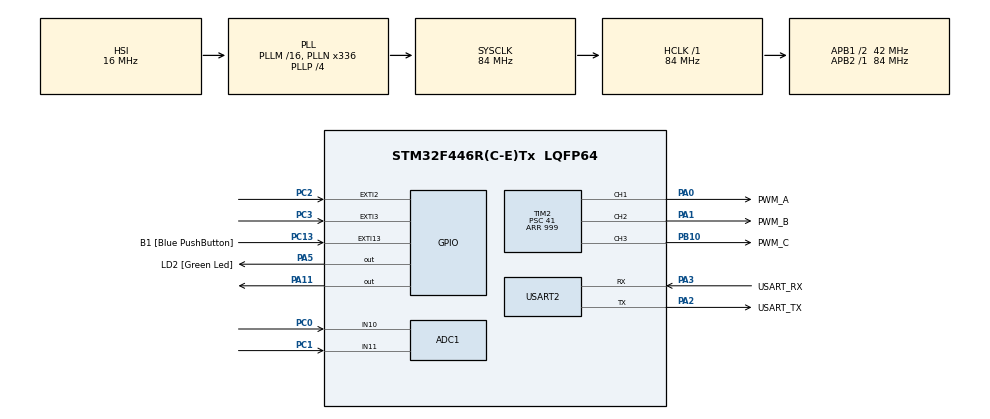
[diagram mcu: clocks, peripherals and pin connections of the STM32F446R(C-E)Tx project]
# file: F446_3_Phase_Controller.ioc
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Mcu.Family=STM32F4
PH0-OSC_IN.Signal=RCC_OSC_IN
RCC.CortexFreq_Value=84000000
PA14.GPIO_Label=TCK
TIM2.Channel-PWM\ Generation2\ CH2=TIM_CHANNEL_2
PC13.GPIO_Label=B1 [Blue PushButton]
RCC.SYSCLKSource=RCC_SYSCLKSOURCE_PLLCLK
ProjectManager.StackSize=0x400
NVIC.ADC_IRQn=true\:0\:0\:false\:false\:true\:true\:true
RCC.HCLKFreq_Value=84000000
RCC.APB2TimFreq_Value=84000000
TIM3.Period=41999
PC3.Signal=GPXTI3
RCC.AHBFreq_Value=84000000
PH0-OSC_IN.Mode=HSE-External-Oscillator
NVIC.EXTI15_10_IRQn=true\:0\:0\:false\:false\:true\:true\:true
ADC1.Channel-0\#ChannelRegularConversion=ADC_CHANNEL_10
RCC.HSE_VALUE=8000000
PC14-OSC32_IN.Mode=LSE-External-Oscillator
PA14.Mode=Serial_Wire
TIM3.Prescaler=39
TIM2.Channel-PWM\ Generation1\ CH1=TIM_CHANNEL_1
ADC1.SamplingTime-0\#ChannelRegularConversion=ADC_SAMPLETIME_3CYCLES
RCC.FLatency-AdvancedSettings=FLASH_LATENCY_2
PH1-OSC_OUT.Mode=HSE-External-Oscillator
Mcu.Package=LQFP64
TIM2.Prescaler=41
USART2.VirtualMode=VM_ASYNC
PA2.GPIO_Label=USART_TX
RCC.APB1TimFreq_Value=84000000
VP_TIM3_VS_ClockSourceINT.Mode=Internal
PA3.Signal=USART2_RX
PB3.GPIO_Label=SWO
PC15-OSC32_OUT.Mode=LSE-External-Oscillator
ADC1.Rank-0\#ChannelRegularConversion=1
PC13.Signal=GPXTI13
PC2.Signal=GPXTI2
PC0.Signal=ADCx_IN10
RCC.APB1CLKDivider=RCC_HCLK_DIV2
PC14-OSC32_IN.Signal=RCC_OSC32_IN
PA0-WKUP.GPIO_Label=PWM_A
PA0-WKUP.Signal=S_TIM2_CH1_ETR
PA3.Mode=Asynchronous
PA13.Signal=SYS_JTMS-SWDIO
SH.S_TIM2_CH2.0=TIM2_CH2,PWM Generation2 CH2
ProjectManager.TargetToolchain=MDK-ARM V5.27
PB10.GPIO_Label=PWM_C
RCC.USBFreq_Value=168000000
PC15-OSC32_OUT.Signal=RCC_OSC32_OUT
PA1.Signal=S_TIM2_CH2
PB10.Signal=S_TIM2_CH3
PA5.Signal=GPIO_Output
board=NUCLEO-F446RE
RCC.VCOOutputFreq_Value=336000000
NVIC.TIM3_IRQn=true\:0\:0\:false\:false\:true\:true\:true
RCC.APB2Freq_Value=84000000
SH.ADCx_IN11.0=ADC1_IN11,IN11
VP_TIM2_VS_ClockSourceINT.Mode=Internal
SH.S_TIM2_CH3.0=TIM2_CH3,PWM Generation3 CH3
PA1.GPIO_Label=PWM_B
TIM2.Channel-PWM\ Generation3\ CH3=TIM_CHANNEL_3
PH1-OSC_OUT.Signal=RCC_OSC_OUT
TIM2.Period=999
PA13.Mode=Serial_Wire
Mcu.Name=STM32F446R(C-E)Tx
PA2.Signal=USART2_TX
PA13.GPIO_Label=TMS
RCC.48MHZClocksFreq_Value=84000000
PB3.Signal=SYS_JTDO-SWO
RCC.SYSCLKFreq_VALUE=84000000
ADC1.master=1
PA5.GPIO_Label=LD2 [Green Led]
PC13.GPIO_ModeDefaultEXTI=GPIO_MODE_IT_FALLING
PA11.Signal=GPIO_Output
SH.S_TIM2_CH1_ETR.0=TIM2_CH1,PWM Generation1 CH1
PA14.Signal=SYS_JTCK-SWCLK
SH.ADCx_IN10.0=ADC1_IN10,IN10
ProjectManager.HeapSize=0x200
RCC.HSI_VALUE=16000000
RCC.PLLP=RCC_PLLP_DIV4
NVIC.PriorityGroup=NVIC_PRIORITYGROUP_0
ADC1.NbrOfConversionFlag=1
RCC.PLLN=336
PA2.Mode=Asynchronous
PA11.PinState=GPIO_PIN_SET
RCC.APB1Freq_Value=42000000
PC1.Signal=ADCx_IN11
PA3.GPIO_Label=USART_RX

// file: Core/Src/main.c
/* USER CODE BEGIN Header */
/**
  ******************************************************************************
  * @file           : main.c
  * @brief          : Main program body
  ******************************************************************************
  * @attention
  *
  * <h2><center>&copy; Copyright (c) 2021 STMicroelectronics.
  * All rights reserved.</center></h2>
  *
  * This software component is licensed by ST under BSD 3-Clause license,
  * the "License"; You may not use this file except in compliance with the
  * License. You may obtain a copy of the License at:
  *                        opensource.org/licenses/BSD-3-Clause
  *
  ******************************************************************************
  */
/* USER CODE END Header */
#include "main.h"

ADC_HandleTypeDef hadc1;

TIM_HandleTypeDef htim2;
TIM_HandleTypeDef htim3;

UART_HandleTypeDef huart2;

void SystemClock_Config(void);
static void MX_GPIO_Init(void);
static void MX_USART2_UART_Init(void);
static void MX_ADC1_Init(void);
static void MX_TIM2_Init(void);
static void MX_TIM3_Init(void);

int main(void)
{

  /* MCU Configuration--------------------------------------------------------*/

  /* Reset of all peripherals, Initializes the Flash interface and the Systick. */
  HAL_Init();

  /* Configure the system clock */
  SystemClock_Config();

  /* Initialize all configured peripherals */
  MX_GPIO_Init();
  MX_USART2_UART_Init();
  MX_ADC1_Init();
  MX_TIM2_Init();
  MX_TIM3_Init();
  /* USER CODE BEGIN 2 */

	HAL_TIM_PWM_Start(&htim2, TIM_CHANNEL_1); // starts PWM on channel 1 of timer_2
	HAL_TIM_PWM_Start(&htim2, TIM_CHANNEL_2); // starts PWM on channel 2 of timer_2
	HAL_TIM_PWM_Start(&htim2, TIM_CHANNEL_3); // starts PWM on channel 3 of timer_2

	uint8_t analogue = 0; // stores ADC read values

	uint64_t A_Pos; // Position of phase A
	uint64_t B_Pos;
	uint64_t C_Pos;

	uint16_t A_PWM; // PWM output for phase A
	uint16_t B_PWM;
	uint16_t C_PWM;

//	HAL_GPIO_WritePin(GPIOA, GPIO_PIN_11, GPIO_PIN_RESET);

  /* USER CODE END 2 */

  /* Infinite loop */
  while (1) {

    /* USER CODE BEGIN 3 */

		// Starting the 3 phases 120 deg apart
		A_Pos = inc;
		B_Pos = inc + 667;
		C_Pos = inc + 1334;

		A_PWM = A_Pos % 1000;
		B_PWM = B_Pos % 1000;
		C_PWM = C_Pos % 1000;

		// Updating phase A PWM from position
		if((A_Pos / 1000) % 2 == 0) {
			htim2.Instance->CCR1=(A_PWM);
		} else {
			htim2.Instance->CCR1=(999 - A_PWM);
		}

		// Updating phase B PWM from position
		if((B_Pos / 1000) % 2 == 0) {
			htim2.Instance->CCR2=(B_PWM);
		} else {
			htim2.Instance->CCR2=(999 - B_PWM);
		}

		// Updating phase C PWM from position
		if((C_Pos / 1000) % 2 == 0) {
			htim2.Instance->CCR3=(C_PWM);
		} else {
			htim2.Instance->CCR3=(999 - C_PWM);
		}

		HAL_Delay(10);

//		inc++;

//		HAL_GPIO_WritePin(LD2_GPIO_Port, LD2_Pin, GPIO_PIN_SET);
//		HAL_Delay(1000);
//		HAL_GPIO_WritePin(LD2_GPIO_Port, LD2_Pin, GPIO_PIN_RESET);
//		HAL_Delay(1000);

//		htim2.Instance->CCR1=(287/2);
//		HAL_GPIO_TogglePin(GPIOB, GPIO_PIN_13);
//		HAL_GPIO_TogglePin(GPIOA, GPIO_PIN_1);
//		HAL_Delay(1500);
//		HAL_GPIO_TogglePin(GPIOB, GPIO_PIN_13);
//		HAL_GPIO_TogglePin(GPIOA, GPIO_PIN_1);
//		HAL_Delay(1500);

//		HAL_GPIO_TogglePin(GPIOA, GPIO_PIN_5);
//		HAL_GPIO_TogglePin(

//		HAL_GPIO_TogglePin(GPIOA,GPIO_PIN_5);
//		HAL_Delay(1000);
//		HAL_GPIO_TogglePin(GPIOA,GPIO_PIN_5);
//		HAL_Delay(1000);
  }
  /* USER CODE END 3 */
}

void SystemClock_Config(void)
{
  RCC_OscInitTypeDef RCC_OscInitStruct = {0};
  RCC_ClkInitTypeDef RCC_ClkInitStruct = {0};

  /** Configure the main internal regulator output voltage
  */
  __HAL_RCC_PWR_CLK_ENABLE();
  __HAL_PWR_VOLTAGESCALING_CONFIG(PWR_REGULATOR_VOLTAGE_SCALE3);
  /** Initializes the RCC Oscillators according to the specified parameters
  * in the RCC_OscInitTypeDef structure.
  */
  RCC_OscInitStruct.OscillatorType = RCC_OSCILLATORTYPE_HSI;
  RCC_OscInitStruct.HSIState = RCC_HSI_ON;
  RCC_OscInitStruct.HSICalibrationValue = RCC_HSICALIBRATION_DEFAULT;
  RCC_OscInitStruct.PLL.PLLState = RCC_PLL_ON;
  RCC_OscInitStruct.PLL.PLLSource = RCC_PLLSOURCE_HSI;
  RCC_OscInitStruct.PLL.PLLM = 16;
  RCC_OscInitStruct.PLL.PLLN = 336;
  RCC_OscInitStruct.PLL.PLLP = RCC_PLLP_DIV4;
  RCC_OscInitStruct.PLL.PLLQ = 2;
  RCC_OscInitStruct.PLL.PLLR = 2;
  if (HAL_RCC_OscConfig(&RCC_OscInitStruct) != HAL_OK)
  {
    Error_Handler();
  }
  /** Initializes the CPU, AHB and APB buses clocks
  */
  RCC_ClkInitStruct.ClockType = RCC_CLOCKTYPE_HCLK|RCC_CLOCKTYPE_SYSCLK
                              |RCC_CLOCKTYPE_PCLK1|RCC_CLOCKTYPE_PCLK2;
  RCC_ClkInitStruct.SYSCLKSource = RCC_SYSCLKSOURCE_PLLCLK;
  RCC_ClkInitStruct.AHBCLKDivider = RCC_SYSCLK_DIV1;
  RCC_ClkInitStruct.APB1CLKDivider = RCC_HCLK_DIV2;
  RCC_ClkInitStruct.APB2CLKDivider = RCC_HCLK_DIV1;

  if (HAL_RCC_ClockConfig(&RCC_ClkInitStruct, FLASH_LATENCY_2) != HAL_OK)
  {
    Error_Handler();
  }
}

static void MX_ADC1_Init(void)
{

  ADC_ChannelConfTypeDef sConfig = {0};

  /** Configure the global features of the ADC (Clock, Resolution, Data Alignment and number of conversion)
  */
  hadc1.Instance = ADC1;
  hadc1.Init.ClockPrescaler = ADC_CLOCK_SYNC_PCLK_DIV4;
  hadc1.Init.Resolution = ADC_RESOLUTION_12B;
  hadc1.Init.ScanConvMode = DISABLE;
  hadc1.Init.ContinuousConvMode = DISABLE;
  hadc1.Init.DiscontinuousConvMode = DISABLE;
  hadc1.Init.ExternalTrigConvEdge = ADC_EXTERNALTRIGCONVEDGE_NONE;
  hadc1.Init.ExternalTrigConv = ADC_SOFTWARE_START;
  hadc1.Init.DataAlign = ADC_DATAALIGN_RIGHT;
  hadc1.Init.NbrOfConversion = 1;
  hadc1.Init.DMAContinuousRequests = DISABLE;
  hadc1.Init.EOCSelection = ADC_EOC_SINGLE_CONV;
  if (HAL_ADC_Init(&hadc1) != HAL_OK)
  {
    Error_Handler();
  }
  /** Configure for the selected ADC regular channel its corresponding rank in the sequencer and its sample time.
  */
  sConfig.Channel = ADC_CHANNEL_10;
  sConfig.Rank = 1;
  sConfig.SamplingTime = ADC_SAMPLETIME_3CYCLES;
  if (HAL_ADC_ConfigChannel(&hadc1, &sConfig) != HAL_OK)
  {
    Error_Handler();
  }

}

static void MX_TIM2_Init(void)
{

  TIM_ClockConfigTypeDef sClockSourceConfig = {0};
  TIM_MasterConfigTypeDef sMasterConfig = {0};
  TIM_OC_InitTypeDef sConfigOC = {0};

  htim2.Instance = TIM2;
  htim2.Init.Prescaler = 41;
  htim2.Init.CounterMode = TIM_COUNTERMODE_UP;
  htim2.Init.Period = 999;
  htim2.Init.ClockDivision = TIM_CLOCKDIVISION_DIV1;
  htim2.Init.AutoReloadPreload = TIM_AUTORELOAD_PRELOAD_DISABLE;
  if (HAL_TIM_Base_Init(&htim2) != HAL_OK)
  {
    Error_Handler();
  }
  sClockSourceConfig.ClockSource = TIM_CLOCKSOURCE_INTERNAL;
  if (HAL_TIM_ConfigClockSource(&htim2, &sClockSourceConfig) != HAL_OK)
  {
    Error_Handler();
  }
  if (HAL_TIM_PWM_Init(&htim2) != HAL_OK)
  {
    Error_Handler();
  }
  sMasterConfig.MasterOutputTrigger = TIM_TRGO_RESET;
  sMasterConfig.MasterSlaveMode = TIM_MASTERSLAVEMODE_DISABLE;
  if (HAL_TIMEx_MasterConfigSynchronization(&htim2, &sMasterConfig) != HAL_OK)
  {
    Error_Handler();
  }
  sConfigOC.OCMode = TIM_OCMODE_PWM1;
  sConfigOC.Pulse = 0;
  sConfigOC.OCPolarity = TIM_OCPOLARITY_HIGH;
  sConfigOC.OCFastMode = TIM_OCFAST_DISABLE;
  if (HAL_TIM_PWM_ConfigChannel(&htim2, &sConfigOC, TIM_CHANNEL_1) != HAL_OK)
  {
    Error_Handler();
  }
  if (HAL_TIM_PWM_ConfigChannel(&htim2, &sConfigOC, TIM_CHANNEL_2) != HAL_OK)
  {
    Error_Handler();
  }
  if (HAL_TIM_PWM_ConfigChannel(&htim2, &sConfigOC, TIM_CHANNEL_3) != HAL_OK)
  {
    Error_Handler();
  }
  HAL_TIM_MspPostInit(&htim2);

}

static void MX_TIM3_Init(void)
{

  TIM_ClockConfigTypeDef sClockSourceConfig = {0};
  TIM_MasterConfigTypeDef sMasterConfig = {0};

  htim3.Instance = TIM3;
  htim3.Init.Prescaler = 39;
  htim3.Init.CounterMode = TIM_COUNTERMODE_UP;
  htim3.Init.Period = 41999;
  htim3.Init.ClockDivision = TIM_CLOCKDIVISION_DIV1;
  htim3.Init.AutoReloadPreload = TIM_AUTORELOAD_PRELOAD_DISABLE;
  if (HAL_TIM_Base_Init(&htim3) != HAL_OK)
  {
    Error_Handler();
  }
  sClockSourceConfig.ClockSource = TIM_CLOCKSOURCE_INTERNAL;
  if (HAL_TIM_ConfigClockSource(&htim3, &sClockSourceConfig) != HAL_OK)
  {
    Error_Handler();
  }
  sMasterConfig.MasterOutputTrigger = TIM_TRGO_RESET;
  sMasterConfig.MasterSlaveMode = TIM_MASTERSLAVEMODE_DISABLE;
  if (HAL_TIMEx_MasterConfigSynchronization(&htim3, &sMasterConfig) != HAL_OK)
  {
    Error_Handler();
  }
  /* USER CODE BEGIN TIM3_Init 2 */

	HAL_TIM_Base_Start_IT(&htim3); // starts timer_3 in interrupt mode
	HAL_NVIC_SetPriority(TIM3_IRQn, 0, 0); // sets timer_3 interrupt priority
	HAL_NVIC_EnableIRQ(TIM3_IRQn); // enables peripheral IQR

  /* USER CODE END TIM3_Init 2 */

}

static void MX_USART2_UART_Init(void)
{

  huart2.Instance = USART2;
  huart2.Init.BaudRate = 115200;
  huart2.Init.WordLength = UART_WORDLENGTH_8B;
  huart2.Init.StopBits = UART_STOPBITS_1;
  huart2.Init.Parity = UART_PARITY_NONE;
  huart2.Init.Mode = UART_MODE_TX_RX;
  huart2.Init.HwFlowCtl = UART_HWCONTROL_NONE;
  huart2.Init.OverSampling = UART_OVERSAMPLING_16;
  if (HAL_UART_Init(&huart2) != HAL_OK)
  {
    Error_Handler();
  }

}

static void MX_GPIO_Init(void)
{
  GPIO_InitTypeDef GPIO_InitStruct = {0};

  /* GPIO Ports Clock Enable */
  __HAL_RCC_GPIOC_CLK_ENABLE();
  __HAL_RCC_GPIOH_CLK_ENABLE();
  __HAL_RCC_GPIOA_CLK_ENABLE();
  __HAL_RCC_GPIOB_CLK_ENABLE();

  /*Configure GPIO pin Output Level */
  HAL_GPIO_WritePin(LD2_GPIO_Port, LD2_Pin, GPIO_PIN_RESET);

  /*Configure GPIO pin Output Level */
  HAL_GPIO_WritePin(GPIOA, GPIO_PIN_11, GPIO_PIN_SET);

  /*Configure GPIO pin : B1_Pin */
  GPIO_InitStruct.Pin = B1_Pin;
  GPIO_InitStruct.Mode = GPIO_MODE_IT_FALLING;
  GPIO_InitStruct.Pull = GPIO_NOPULL;
  HAL_GPIO_Init(B1_GPIO_Port, &GPIO_InitStruct);

  /*Configure GPIO pins : LD2_Pin PA11 */
  GPIO_InitStruct.Pin = LD2_Pin|GPIO_PIN_11;
  GPIO_InitStruct.Mode = GPIO_MODE_OUTPUT_PP;
  GPIO_InitStruct.Pull = GPIO_NOPULL;
  GPIO_InitStruct.Speed = GPIO_SPEED_FREQ_LOW;
  HAL_GPIO_Init(GPIOA, &GPIO_InitStruct);

  /* EXTI interrupt init*/
  HAL_NVIC_SetPriority(EXTI15_10_IRQn, 0, 0);
  HAL_NVIC_EnableIRQ(EXTI15_10_IRQn);

}

void Error_Handler(void)
{
  __disable_irq();
  while (1)
  {
  }
}

/************************ (C) COPYRIGHT STMicroelectronics *****END OF FILE****/
